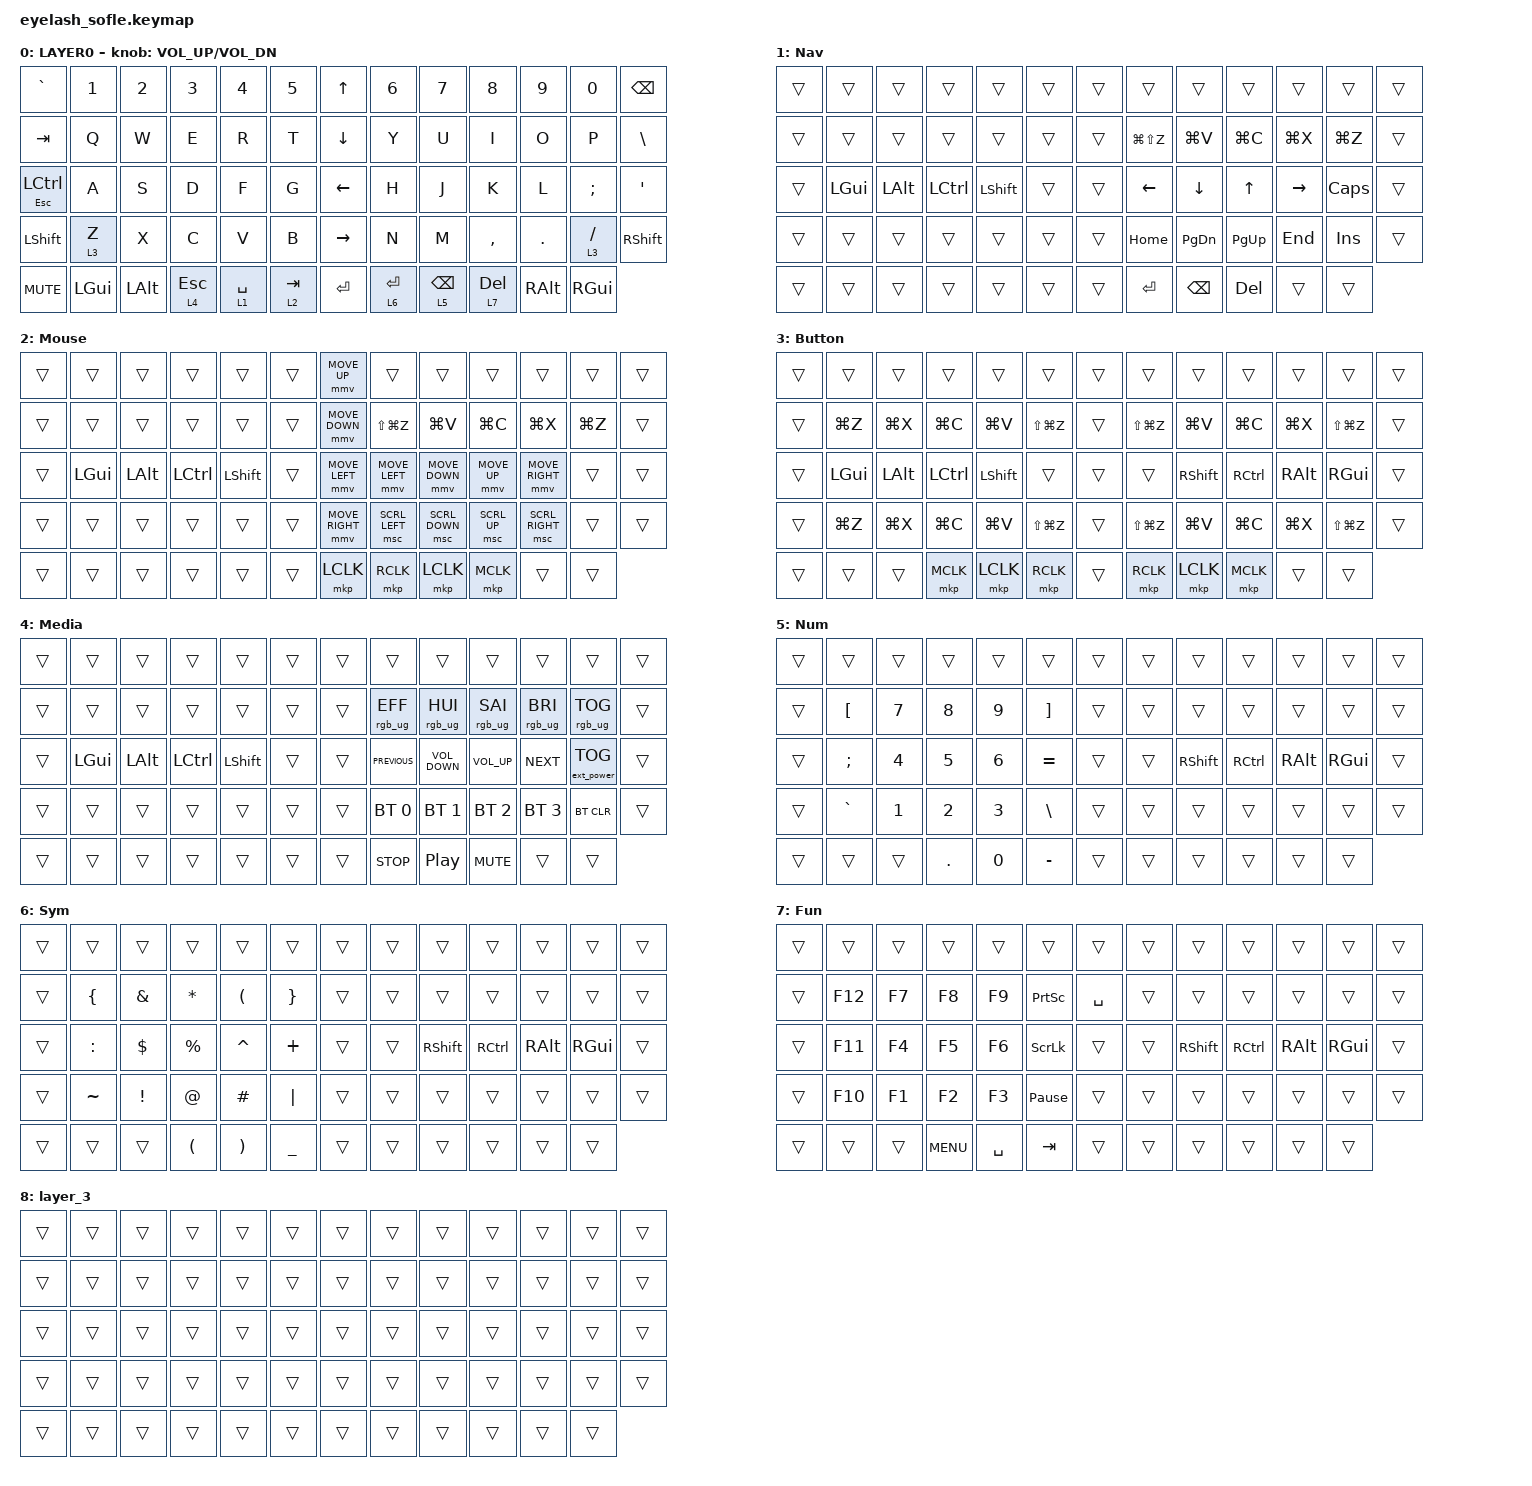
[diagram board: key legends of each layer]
#include <dt-bindings/zmk/mouse.h>
#include <input/processors.dtsi>
#include <behaviors.dtsi>
#include <dt-bindings/zmk/bt.h>
#include <dt-bindings/zmk/ext_power.h>
#include <dt-bindings/zmk/keys.h>
#include <dt-bindings/zmk/outputs.h>
#include <dt-bindings/zmk/pointing.h>
#include <dt-bindings/zmk/pointing.h>
#include <dt-bindings/zmk/pointing.h>
#include <dt-bindings/zmk/rgb.h>

/*

   &mmv_input_listener {
       input-processors = <&zip_xy_scaler 2 1>;
   };

   &msc_input_listener {
       input-processors = <&zip_xy_scaler 2 1>;
   };

 */

#define ZMK_MOUSE_DEFAULT_MOVE_VAL 1200  // 600
#define ZMK_MOUSE_DEFAULT_SCRL_VAL 20    // 10

/ {
    behaviors {
        mmv {
            acceleration-exponent = <1>;      // 1
            time-to-max-speed-ms = <900>;    // 40
            delay-ms = <0>;                   // 0
        };

        msc {
            acceleration-exponent = <1>;      // 0
            time-to-max-speed-ms = <400>;      // 500
            delay-ms = <0>;                   //   10
        };
    };

    scroll_encoder: scroll_encoder {
        compatible = "zmk,behavior-sensor-rotate";
        #sensor-binding-cells = <0>;
        bindings = <&msc SCRL_DOWN>, <&msc SCRL_UP>;

        tap-ms = <30>;
    };

    keymap {
        compatible = "zmk,keymap";

        base {
            bindings = <
&kp GRAVE      &kp NUMBER_1  &kp NUMBER_2  &kp NUMBER_3  &kp NUMBER_4  &kp NUMBER_5    &kp UP_ARROW     &kp NUMBER_6  &kp NUMBER_7     &kp N8        &kp N9    &kp N0       &kp BACKSPACE
&kp TAB        &kp Q         &kp W         &kp E         &kp R         &kp T           &kp DOWN_ARROW   &kp Y         &kp U            &kp I         &kp O     &kp P        &kp BSLH
&mt ESC LCTRL  &kp A         &kp S         &kp D         &kp F         &kp G           &kp LEFT_ARROW   &kp H         &kp J            &kp K         &kp L     &kp SEMI     &kp SQT
&kp LSHFT      &lt 3 Z       &kp X         &kp C         &kp V         &kp B           &kp RIGHT_ARROW  &kp N         &kp M            &kp COMMA     &kp DOT   &lt 3 SLASH  &kp RSHFT
&kp C_MUTE     &kp LGUI      &kp LALT      &lt 4 ESCAPE  &lt 1 SPACE   &lt 2 TAB       &kp ENTER        &lt 6 ENTER   &lt 5 BACKSPACE  &lt 7 DELETE  &kp RALT  &kp RGUI
            >;

            sensor-bindings = <&inc_dec_kp C_VOLUME_UP C_VOL_DN>;
            display-name = "LAYER0";
            label = "Base";
        };

        nav {
            bindings = <
&trans  &trans    &trans    &trans     &trans     &trans    &trans  &trans         &trans         &trans       &trans     &trans      &trans
&trans  &trans    &trans    &trans     &trans     &trans    &trans  &kp LG(LS(Z))  &kp LG(V)      &kp LG(C)    &kp LG(X)  &kp LG(Z)   &trans
&trans  &kp LGUI  &kp LALT  &kp LCTRL  &kp LSHFT  &trans    &trans  &kp LEFT       &kp DOWN       &kp UP       &kp RIGHT  &kp CAPS    &trans
&trans  &trans    &trans    &trans     &trans     &trans    &trans  &kp HOME       &kp PAGE_DOWN  &kp PAGE_UP  &kp END    &kp INSERT  &trans
&trans  &trans    &trans    &trans     &trans     &trans    &trans  &kp ENTER      &kp BACKSPACE  &kp DELETE   &trans     &trans
            >;

            label = "Nav";
        };

        mouse {
            bindings = <
&trans  &trans    &trans    &trans     &trans     &trans    &mmv MOVE_UP     &trans          &trans          &trans        &trans           &trans     &trans
&trans  &trans    &trans    &trans     &trans     &trans    &mmv MOVE_DOWN   &kp LS(LG(Z))   &kp LG(V)       &kp LG(C)     &kp LG(X)        &kp LG(Z)  &trans
&trans  &kp LGUI  &kp LALT  &kp LCTRL  &kp LSHFT  &trans    &mmv MOVE_LEFT   &mmv MOVE_LEFT  &mmv MOVE_DOWN  &mmv MOVE_UP  &mmv MOVE_RIGHT  &trans     &trans
&trans  &trans    &trans    &trans     &trans     &trans    &mmv MOVE_RIGHT  &msc SCRL_LEFT  &msc SCRL_DOWN  &msc SCRL_UP  &msc SCRL_RIGHT  &trans     &trans
&trans  &trans    &trans    &trans     &trans     &trans    &mkp LCLK        &mkp RCLK       &mkp LCLK       &mkp MCLK     &trans           &trans
            >;

            label = "Mouse";
        };

        button {
            bindings = <
&trans  &trans     &trans     &trans     &trans     &trans           &trans  &trans         &trans     &trans             &trans     &trans         &trans
&trans  &kp LG(Z)  &kp LG(X)  &kp LG(C)  &kp LG(V)  &kp LS(LG(Z))    &trans  &kp LS(LG(Z))  &kp LG(V)  &kp LG(C)          &kp LG(X)  &kp LS(LG(Z))  &trans
&trans  &kp LGUI   &kp LALT   &kp LCTRL  &kp LSHFT  &trans           &trans  &trans         &kp RSHFT  &kp RIGHT_CONTROL  &kp RALT   &kp RGUI       &trans
&trans  &kp LG(Z)  &kp LG(X)  &kp LG(C)  &kp LG(V)  &kp LS(LG(Z))    &trans  &kp LS(LG(Z))  &kp LG(V)  &kp LG(C)          &kp LG(X)  &kp LS(LG(Z))  &trans
&trans  &trans     &trans     &mkp MCLK  &mkp LCLK  &mkp RCLK        &trans  &mkp RCLK      &mkp LCLK  &mkp MCLK          &trans     &trans
            >;

            label = "Button";
        };

        media {
            bindings = <
&trans  &trans    &trans    &trans     &trans     &trans    &trans  &trans           &trans             &trans           &trans           &trans             &trans
&trans  &trans    &trans    &trans     &trans     &trans    &trans  &rgb_ug RGB_EFF  &rgb_ug RGB_HUI    &rgb_ug RGB_SAI  &rgb_ug RGB_BRI  &rgb_ug RGB_TOG    &trans
&trans  &kp LGUI  &kp LALT  &kp LCTRL  &kp LSHFT  &trans    &trans  &kp C_PREVIOUS   &kp C_VOLUME_DOWN  &kp C_VOLUME_UP  &kp C_NEXT       &ext_power EP_TOG  &trans
&trans  &trans    &trans    &trans     &trans     &trans    &trans  &bt BT_SEL 0     &bt BT_SEL 1       &bt BT_SEL 2     &bt BT_SEL 3     &bt BT_CLR         &trans
&trans  &trans    &trans    &trans     &trans     &trans    &trans  &kp C_STOP       &kp C_PLAY_PAUSE   &kp C_MUTE       &trans           &trans
            >;

            label = "Media";
        };

        num {
            bindings = <
&trans  &trans     &trans  &trans   &trans  &trans       &trans  &trans  &trans     &trans             &trans    &trans    &trans
&trans  &kp LBKT   &kp N7  &kp N8   &kp N9  &kp RBKT     &trans  &trans  &trans     &trans             &trans    &trans    &trans
&trans  &kp SEMI   &kp N4  &kp N5   &kp N6  &kp EQUAL    &trans  &trans  &kp RSHFT  &kp RIGHT_CONTROL  &kp RALT  &kp RGUI  &trans
&trans  &kp GRAVE  &kp N1  &kp N2   &kp N3  &kp BSLH     &trans  &trans  &trans     &trans             &trans    &trans    &trans
&trans  &trans     &trans  &kp DOT  &kp N0  &kp MINUS    &trans  &trans  &trans     &trans             &trans    &trans
            >;

            label = "Num";
        };

        sym {
            bindings = <
&trans  &trans          &trans           &trans                &trans                 &trans             &trans  &trans  &trans     &trans             &trans    &trans    &trans
&trans  &kp LEFT_BRACE  &kp AMPERSAND    &kp ASTERISK          &kp LEFT_PARENTHESIS   &kp RIGHT_BRACE    &trans  &trans  &trans     &trans             &trans    &trans    &trans
&trans  &kp COLON       &kp DOLLAR       &kp PERCENT           &kp CARET              &kp PLUS           &trans  &trans  &kp RSHFT  &kp RIGHT_CONTROL  &kp RALT  &kp RGUI  &trans
&trans  &kp TILDE       &kp EXCLAMATION  &kp AT_SIGN           &kp HASH               &kp PIPE           &trans  &trans  &trans     &trans             &trans    &trans    &trans
&trans  &trans          &trans           &kp LEFT_PARENTHESIS  &kp RIGHT_PARENTHESIS  &kp UNDERSCORE     &trans  &trans  &trans     &trans             &trans    &trans
            >;

            label = "Sym";
        };

        fun {
            bindings = <
&trans  &trans   &trans  &trans      &trans     &trans             &trans     &trans  &trans     &trans             &trans    &trans    &trans
&trans  &kp F12  &kp F7  &kp F8      &kp F9     &kp PRINTSCREEN    &kp SPACE  &trans  &trans     &trans             &trans    &trans    &trans
&trans  &kp F11  &kp F4  &kp F5      &kp F6     &kp SCROLLLOCK     &trans     &trans  &kp RSHFT  &kp RIGHT_CONTROL  &kp RALT  &kp RGUI  &trans
&trans  &kp F10  &kp F1  &kp F2      &kp F3     &kp PAUSE_BREAK    &trans     &trans  &trans     &trans             &trans    &trans    &trans
&trans  &trans   &trans  &kp C_MENU  &kp SPACE  &kp TAB            &trans     &trans  &trans     &trans             &trans    &trans
            >;

            label = "Fun";
        };

        layer_3 {
            bindings = <
&trans  &trans  &trans  &trans  &trans  &trans    &trans  &trans  &trans  &trans  &trans  &trans  &trans
&trans  &trans  &trans  &trans  &trans  &trans    &trans  &trans  &trans  &trans  &trans  &trans  &trans
&trans  &trans  &trans  &trans  &trans  &trans    &trans  &trans  &trans  &trans  &trans  &trans  &trans
&trans  &trans  &trans  &trans  &trans  &trans    &trans  &trans  &trans  &trans  &trans  &trans  &trans
&trans  &trans  &trans  &trans  &trans  &trans    &trans  &trans  &trans  &trans  &trans  &trans
            >;
        };
    };
};
